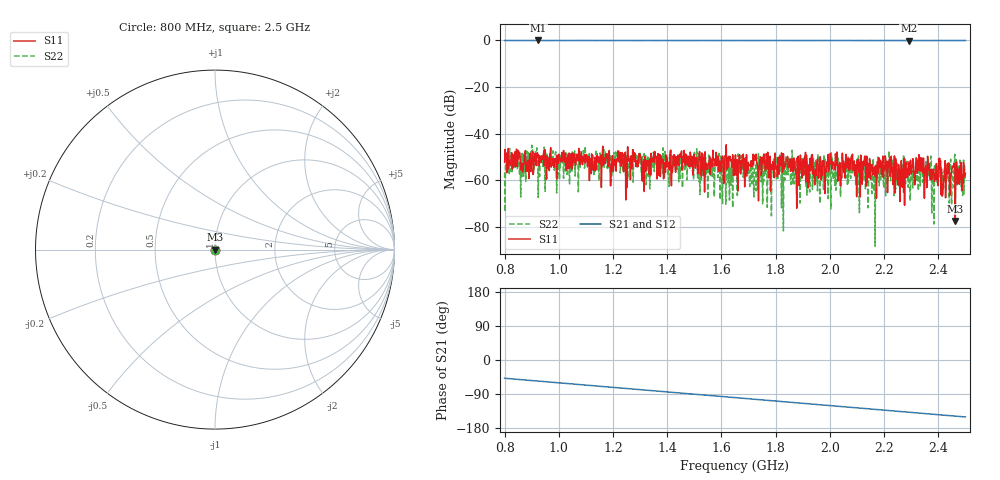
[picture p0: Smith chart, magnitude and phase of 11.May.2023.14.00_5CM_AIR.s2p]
!Keysight Technologies N9950B: A.12.38
!Date: Thursday, 11 May 2023 14:31:09
!Timezone: (UTC-06:00) Central Time (US & Canada)
!Model: N9950B
!Serial: MY61131330
!GPS Latitude:
!GPS Longitude:
!GPS TimeStamp: 0001-01-01 00:00:00Z
!GPS Seconds Since Last Read: 0
!CHECKSUM:1797697833
!Correction: S11(ON U)S21(ON U)S12(ON U)S22(ON U)
!S2P File: Measurements:S11,S21,S12,S22:
# Hz S DB R 50
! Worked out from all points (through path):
!   1001 points, 800 MHz to 2.5 GHz, reference 50 ohm
!   highest |S21| = -0.01 dB at 924.1 MHz (marker M1); lowest = -0.1 dB at 2.291 GHz (marker M2)
!   group delay of S21, straight-line fit = 167 ps
!   lowest |S11| = -77.5 dB at 2.463 GHz (marker M3), VSWR 1.00, Z = 50 - j0.0127 ohm
!   |S11| at or under -10 dB: start of sweep to end of sweep
!   |S22| runs from -88.3 to -45.0 dB; largest |S21 - S12| = 0.0051
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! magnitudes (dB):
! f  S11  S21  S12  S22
! 800 MHz  -52.3  0.0  0.0  -56.6
! 811.9 MHz  -55.3  0.0  0.0  -48.8
! 924.1 MHz  -49.1  0.0  0.0  -67.4
! 1.084 GHz  -50.1  0.0  0.0  -52.1
! 1.368 GHz  -51.5  0.0  0.0  -57.7
! 1.65 GHz  -53.2  0.0  0.0  -51.1
! 1.812 GHz  -57.5  -0.1  0.0  -55.4
! 1.827 GHz  -54.1  0.0  0.0  -58.6
! 1.844 GHz  -49.8  0.0  0.0  -52.3
! 1.879 GHz  -50.4  0.0  0.0  -63.1
! 1.934 GHz  -49.4  0.0  0.0  -49.3
! 2.031 GHz  -57.8  0.0  0.0  -50.5
! 2.051 GHz  -56.7  -0.1  0.0  -52.1
! 2.16 GHz  -56.2  -0.1  0.0  -50.6
! 2.218 GHz  -54.3  -0.1  -0.1  -47.3
! 2.267 GHz  -62.9  0.0  0.0  -59.7
! 2.291 GHz  -52.1  -0.1  0.0  -58.3
! 2.337 GHz  -50.7  0.0  0.0  -50.9
! 2.418 GHz  -61.7  -0.1  0.0  -59.0
! 2.432 GHz  -54.8  0.0  0.0  -55.6
! 2.463 GHz  -77.5  0.0  0.0  -57.7
! 2.5 GHz  -56.9  0.0  0.0  -58.6
